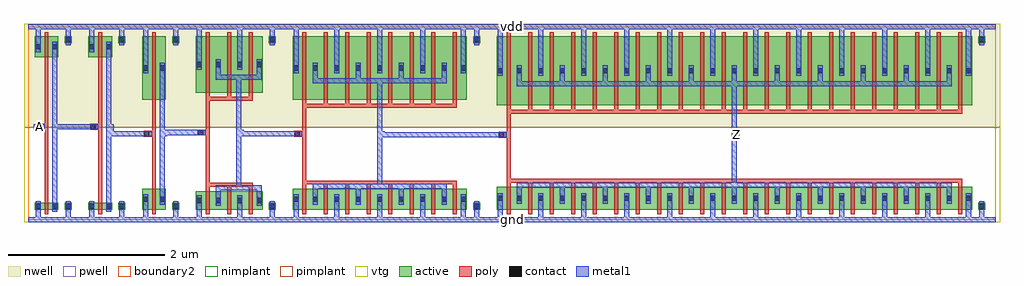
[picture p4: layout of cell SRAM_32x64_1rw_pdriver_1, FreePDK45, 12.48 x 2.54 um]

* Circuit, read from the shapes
.subckt SRAM_32x64_1rw_pdriver_1 A Z gnd vdd
M1 SRAM_32x64_1rw_pinv_1_1/A A gnd gnd nfet w=0.09u l=0.05u
M2 SRAM_32x64_1rw_pinv_8_2/A SRAM_32x64_1rw_pinv_1_1/A gnd gnd nfet w=0.09u l=0.05u
M3 SRAM_32x64_1rw_pinv_9_3/A SRAM_32x64_1rw_pinv_8_2/A gnd gnd nfet w=0.27u l=0.05u
M4 SRAM_32x64_1rw_pinv_10_4/A SRAM_32x64_1rw_pinv_9_3/A gnd gnd nfet w=0.24u l=0.05u m=3
M5 SRAM_32x64_1rw_pinv_11_5/A SRAM_32x64_1rw_pinv_10_4/A gnd gnd nfet w=0.27u l=0.05u m=8
M6 Z SRAM_32x64_1rw_pinv_11_5/A gnd gnd nfet w=0.295u l=0.05u m=22
M7 SRAM_32x64_1rw_pinv_1_1/A A vdd vdd pfet w=0.27u l=0.05u
M8 SRAM_32x64_1rw_pinv_8_2/A SRAM_32x64_1rw_pinv_1_1/A vdd vdd pfet w=0.27u l=0.05u
M9 SRAM_32x64_1rw_pinv_9_3/A SRAM_32x64_1rw_pinv_8_2/A vdd vdd pfet w=0.81u l=0.05u
M10 SRAM_32x64_1rw_pinv_10_4/A SRAM_32x64_1rw_pinv_9_3/A vdd vdd pfet w=0.72u l=0.05u m=3
M11 SRAM_32x64_1rw_pinv_11_5/A SRAM_32x64_1rw_pinv_10_4/A vdd vdd pfet w=0.81u l=0.05u m=8
M12 Z SRAM_32x64_1rw_pinv_11_5/A vdd vdd pfet w=0.8825u l=0.05u m=22
.ends

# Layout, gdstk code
import gdstk
lib = gdstk.Library(unit=1e-6, precision=5e-10)
def R(c, l, rs):  # rectangles x0, y0, x1, y1
    for r in rs: c.add(gdstk.rectangle(r[:2], r[2:], *l))
def A(c, l, x, y, w, h, nx, ny, dx, dy):  # array of equal rectangles
    R(c, l, [(x+i*dx, y+j*dy, x+i*dx+w, y+j*dy+h) for i in range(nx) for j in range(ny)])
active = (1, 0)
pwell = (2, 0)
nwell = (3, 0)
nimplant = (4, 0)
pimplant = (5, 0)
vtg = (6, 0)
poly = (9, 0)
contact = (10, 0)
metal1 = (11, 0)
boundary2 = (239, 0)

sram_32x64_1rw_contact_1 = lib.new_cell('SRAM_32x64_1rw_contact_11')
R(sram_32x64_1rw_contact_1, active, [(0,0.0225,0.09,0.1125)])
R(sram_32x64_1rw_contact_1, nwell, [(-0.055,-0.0325,0.145,0.1675)])
R(sram_32x64_1rw_contact_1, pimplant, [(0,0.0225,0.09,0.1125)])
R(sram_32x64_1rw_contact_1, contact, [(0.0125,0.035,0.0775,0.1)])
R(sram_32x64_1rw_contact_1, metal1, [(0.0125,0,0.0775,0.135)])
R(sram_32x64_1rw_contact_1, boundary2, [(-0.055,-0.0325,0.145,0.1675)])

sram_32x64_1rw_pmos_m1_w = lib.new_cell('SRAM_32x64_1rw_pmos_m1_w0_270_sm1_dm1_da_p')
R(sram_32x64_1rw_pmos_m1_w, active, [(0,0,0.305,0.27)])
R(sram_32x64_1rw_pmos_m1_w, nwell, [(-0.08,-0.08,0.385,0.35)])
R(sram_32x64_1rw_pmos_m1_w, pimplant, [(0,0,0.305,0.27)])
R(sram_32x64_1rw_pmos_m1_w, vtg, [(-0.08,-0.08,0.385,0.35)])
R(sram_32x64_1rw_pmos_m1_w, poly, [(0.1275,-0.055,0.1775,0.325), (0.1275,-0.055,0.1775,0.325)])
R(sram_32x64_1rw_pmos_m1_w, metal1, [(0.0125,0.0675,0.0775,0.2025), (0.2275,0.0675,0.2925,0.2025)])
R(sram_32x64_1rw_pmos_m1_w, boundary2, [(-0.08,-0.08,0.385,0.35)])
sram_32x64_1rw_pmos_m1_w.add(gdstk.Reference(sram_32x64_1rw_contact_1, (0,0.0675)))
sram_32x64_1rw_pmos_m1_w.add(gdstk.Reference(sram_32x64_1rw_contact_1, (0.215,0.0675)))
sram_32x64_1rw_pmos_m1_w.add(gdstk.Label('G', (0.1525,0.135), layer=9, texttype=0))
sram_32x64_1rw_pmos_m1_w.add(gdstk.Label('S', (0.045,0.135), layer=11, texttype=0))
sram_32x64_1rw_pmos_m1_w.add(gdstk.Label('D', (0.26,0.135), layer=11, texttype=0))

c_sram_32x64_1rw_contact_1 = lib.new_cell('SRAM_32x64_1rw_contact_10')
R(c_sram_32x64_1rw_contact_1, active, [(0,0.0225,0.09,0.1125)])
R(c_sram_32x64_1rw_contact_1, pwell, [(-0.055,-0.0325,0.145,0.1675)])
R(c_sram_32x64_1rw_contact_1, nimplant, [(0,0.0225,0.09,0.1125)])
R(c_sram_32x64_1rw_contact_1, contact, [(0.0125,0.035,0.0775,0.1)])
R(c_sram_32x64_1rw_contact_1, metal1, [(0.0125,0,0.0775,0.135)])
R(c_sram_32x64_1rw_contact_1, boundary2, [(-0.055,-0.0325,0.145,0.1675)])

sram_32x64_1rw_nmos_m1_w = lib.new_cell('SRAM_32x64_1rw_nmos_m1_w0_090_sm1_dm1_da_p')
R(sram_32x64_1rw_nmos_m1_w, active, [(0,0,0.305,0.09)])
R(sram_32x64_1rw_nmos_m1_w, pwell, [(-0.08,-0.08,0.385,0.17)])
R(sram_32x64_1rw_nmos_m1_w, nimplant, [(0,0,0.305,0.09)])
R(sram_32x64_1rw_nmos_m1_w, vtg, [(-0.08,-0.08,0.385,0.17)])
R(sram_32x64_1rw_nmos_m1_w, poly, [(0.1275,-0.055,0.1775,0.145), (0.1275,-0.055,0.1775,0.145)])
R(sram_32x64_1rw_nmos_m1_w, metal1, [(0.0125,-0.0225,0.0775,0.1125), (0.2275,-0.0225,0.2925,0.1125)])
R(sram_32x64_1rw_nmos_m1_w, boundary2, [(-0.08,-0.08,0.385,0.17)])
sram_32x64_1rw_nmos_m1_w.add(gdstk.Reference(c_sram_32x64_1rw_contact_1, (0,-0.0225)))
sram_32x64_1rw_nmos_m1_w.add(gdstk.Reference(c_sram_32x64_1rw_contact_1, (0.215,-0.0225)))
sram_32x64_1rw_nmos_m1_w.add(gdstk.Label('G', (0.1525,0.045), layer=9, texttype=0))
sram_32x64_1rw_nmos_m1_w.add(gdstk.Label('S', (0.045,0.045), layer=11, texttype=0))
sram_32x64_1rw_nmos_m1_w.add(gdstk.Label('D', (0.26,0.045), layer=11, texttype=0))

c_sram_32x64_1rw_contact_1_ = lib.new_cell('SRAM_32x64_1rw_contact_12')
R(c_sram_32x64_1rw_contact_1_, active, [(0,0.0225,0.09,0.1125)])
R(c_sram_32x64_1rw_contact_1_, nwell, [(-0.055,-0.0325,0.145,0.1675)])
R(c_sram_32x64_1rw_contact_1_, nimplant, [(0,0.0225,0.09,0.1125)])
R(c_sram_32x64_1rw_contact_1_, contact, [(0.0125,0.035,0.0775,0.1)])
R(c_sram_32x64_1rw_contact_1_, metal1, [(0.0125,0,0.0775,0.135)])
R(c_sram_32x64_1rw_contact_1_, boundary2, [(-0.055,-0.0325,0.145,0.1675)])

c_sram_32x64_1rw_contact_1__ = lib.new_cell('SRAM_32x64_1rw_contact_13')
R(c_sram_32x64_1rw_contact_1__, active, [(0,0.0225,0.09,0.1125)])
R(c_sram_32x64_1rw_contact_1__, pwell, [(-0.055,-0.0325,0.145,0.1675)])
R(c_sram_32x64_1rw_contact_1__, pimplant, [(0,0.0225,0.09,0.1125)])
R(c_sram_32x64_1rw_contact_1__, contact, [(0.0125,0.035,0.0775,0.1)])
R(c_sram_32x64_1rw_contact_1__, metal1, [(0.0125,0,0.0775,0.135)])
R(c_sram_32x64_1rw_contact_1__, boundary2, [(-0.055,-0.0325,0.145,0.1675)])

c_sram_32x64_1rw_contact_1___ = lib.new_cell('SRAM_32x64_1rw_contact_14')
R(c_sram_32x64_1rw_contact_1___, poly, [(0.03,0,0.105,0.075)])
R(c_sram_32x64_1rw_contact_1___, contact, [(0.035,0.005,0.1,0.07)])
R(c_sram_32x64_1rw_contact_1___, metal1, [(0,0.005,0.135,0.07)])
R(c_sram_32x64_1rw_contact_1___, boundary2, [(0,0,0.135,0.075)])

sram_32x64_1rw_pinv_1 = lib.new_cell('SRAM_32x64_1rw_pinv_1')
R(sram_32x64_1rw_pinv_1, pwell, [(-0.055,-0.0325,0.7425,1.185)])
R(sram_32x64_1rw_pinv_1, nwell, [(-0.055,1.185,0.7425,2.505)])
R(sram_32x64_1rw_pinv_1, vtg, [(-0.055,-0.0325,0.7425,1.185), (-0.055,1.185,0.7425,2.505)])
R(sram_32x64_1rw_pinv_1, poly, [(0.2075,0.27,0.2575,2.02), (0.14,1.1525,0.2075,1.2275)])
R(sram_32x64_1rw_pinv_1, metal1, [(0,-0.0325,0.6875,0.0325), (0.0925,-0.0325,0.1575,0.1025), (0.4775,0,0.5425,0.17), (0.3075,0.1025,0.3725,2.2775), (0.0725,1.1575,0.2075,1.2225), (0.34,1.1575,0.405,1.2225), (0.0925,2.1425,0.1575,2.5025), (0.4775,2.3,0.5425,2.47), (0,2.4375,0.6875,2.5025)])
R(sram_32x64_1rw_pinv_1, boundary2, [(0,0,0.6875,2.47), (0,0,0.6875,2.47)])
sram_32x64_1rw_pinv_1.add(gdstk.Reference(sram_32x64_1rw_pmos_m1_w, (0.08,2.075)))
sram_32x64_1rw_pinv_1.add(gdstk.Reference(sram_32x64_1rw_nmos_m1_w, (0.08,0.125)))
sram_32x64_1rw_pinv_1.add(gdstk.Reference(c_sram_32x64_1rw_contact_1_, (0.465,2.2325)))
sram_32x64_1rw_pinv_1.add(gdstk.Reference(c_sram_32x64_1rw_contact_1__, (0.465,0.1025)))
sram_32x64_1rw_pinv_1.add(gdstk.Reference(c_sram_32x64_1rw_contact_1___, (0.0725,1.1525)))
sram_32x64_1rw_pinv_1.add(gdstk.Label('A', (0.14,1.19), layer=11, texttype=0))
sram_32x64_1rw_pinv_1.add(gdstk.Label('Z', (0.3725,1.19), layer=11, texttype=0))
sram_32x64_1rw_pinv_1.add(gdstk.Label('gnd', (0.344,0), layer=11, texttype=0))
sram_32x64_1rw_pinv_1.add(gdstk.Label('vdd', (0.344,2.47), layer=11, texttype=0))

c_sram_32x64_1rw_pmos_m1_w = lib.new_cell('SRAM_32x64_1rw_pmos_m1_w0_810_sm1_dm1_da_p')
R(c_sram_32x64_1rw_pmos_m1_w, active, [(0,0,0.305,0.81)])
R(c_sram_32x64_1rw_pmos_m1_w, nwell, [(-0.08,-0.08,0.385,0.89)])
R(c_sram_32x64_1rw_pmos_m1_w, pimplant, [(0,0,0.305,0.81)])
R(c_sram_32x64_1rw_pmos_m1_w, vtg, [(-0.08,-0.08,0.385,0.89)])
R(c_sram_32x64_1rw_pmos_m1_w, poly, [(0.1275,-0.055,0.1775,0.865), (0.1275,-0.055,0.1775,0.865)])
R(c_sram_32x64_1rw_pmos_m1_w, metal1, [(0.0125,0.3375,0.0775,0.4725), (0.2275,0.3375,0.2925,0.4725)])
R(c_sram_32x64_1rw_pmos_m1_w, boundary2, [(-0.08,-0.08,0.385,0.89)])
c_sram_32x64_1rw_pmos_m1_w.add(gdstk.Reference(sram_32x64_1rw_contact_1, (0,0.3375)))
c_sram_32x64_1rw_pmos_m1_w.add(gdstk.Reference(sram_32x64_1rw_contact_1, (0.215,0.3375)))
c_sram_32x64_1rw_pmos_m1_w.add(gdstk.Label('G', (0.1525,0.405), layer=9, texttype=0))
c_sram_32x64_1rw_pmos_m1_w.add(gdstk.Label('S', (0.045,0.405), layer=11, texttype=0))
c_sram_32x64_1rw_pmos_m1_w.add(gdstk.Label('D', (0.26,0.405), layer=11, texttype=0))

c_sram_32x64_1rw_nmos_m1_w = lib.new_cell('SRAM_32x64_1rw_nmos_m1_w0_270_sm1_dm1_da_p')
R(c_sram_32x64_1rw_nmos_m1_w, active, [(0,0,0.305,0.27)])
R(c_sram_32x64_1rw_nmos_m1_w, pwell, [(-0.08,-0.08,0.385,0.35)])
R(c_sram_32x64_1rw_nmos_m1_w, nimplant, [(0,0,0.305,0.27)])
R(c_sram_32x64_1rw_nmos_m1_w, vtg, [(-0.08,-0.08,0.385,0.35)])
R(c_sram_32x64_1rw_nmos_m1_w, poly, [(0.1275,-0.055,0.1775,0.325), (0.1275,-0.055,0.1775,0.325)])
R(c_sram_32x64_1rw_nmos_m1_w, metal1, [(0.0125,0.0675,0.0775,0.2025), (0.2275,0.0675,0.2925,0.2025)])
R(c_sram_32x64_1rw_nmos_m1_w, boundary2, [(-0.08,-0.08,0.385,0.35)])
c_sram_32x64_1rw_nmos_m1_w.add(gdstk.Reference(c_sram_32x64_1rw_contact_1, (0,0.0675)))
c_sram_32x64_1rw_nmos_m1_w.add(gdstk.Reference(c_sram_32x64_1rw_contact_1, (0.215,0.0675)))
c_sram_32x64_1rw_nmos_m1_w.add(gdstk.Label('G', (0.1525,0.135), layer=9, texttype=0))
c_sram_32x64_1rw_nmos_m1_w.add(gdstk.Label('S', (0.045,0.135), layer=11, texttype=0))
c_sram_32x64_1rw_nmos_m1_w.add(gdstk.Label('D', (0.26,0.135), layer=11, texttype=0))

sram_32x64_1rw_pinv_8 = lib.new_cell('SRAM_32x64_1rw_pinv_8')
R(sram_32x64_1rw_pinv_8, pwell, [(-0.055,-0.0325,0.7425,1.185)])
R(sram_32x64_1rw_pinv_8, nwell, [(-0.055,1.185,0.7425,2.505)])
R(sram_32x64_1rw_pinv_8, vtg, [(-0.055,-0.0325,0.7425,1.185), (-0.055,1.185,0.7425,2.505)])
R(sram_32x64_1rw_pinv_8, poly, [(0.2075,0.45,0.2575,1.48), (0.14,1.0625,0.2075,1.1375)])
R(sram_32x64_1rw_pinv_8, metal1, [(0,-0.0325,0.6875,0.0325), (0.0925,-0.0325,0.1575,0.1925), (0.4775,0,0.5425,0.17), (0.3075,0.1925,0.3725,2.0075), (0.0725,1.0675,0.2075,1.1325), (0.34,1.0675,0.405,1.1325), (0.0925,1.8725,0.1575,2.5025), (0.4775,2.3,0.5425,2.47), (0,2.4375,0.6875,2.5025)])
R(sram_32x64_1rw_pinv_8, boundary2, [(0,0,0.6875,2.47), (0,0,0.6875,2.47)])
sram_32x64_1rw_pinv_8.add(gdstk.Reference(c_sram_32x64_1rw_pmos_m1_w, (0.08,1.535)))
sram_32x64_1rw_pinv_8.add(gdstk.Reference(c_sram_32x64_1rw_nmos_m1_w, (0.08,0.125)))
sram_32x64_1rw_pinv_8.add(gdstk.Reference(c_sram_32x64_1rw_contact_1_, (0.465,2.2325)))
sram_32x64_1rw_pinv_8.add(gdstk.Reference(c_sram_32x64_1rw_contact_1__, (0.465,0.1025)))
sram_32x64_1rw_pinv_8.add(gdstk.Reference(c_sram_32x64_1rw_contact_1___, (0.0725,1.0625)))
sram_32x64_1rw_pinv_8.add(gdstk.Label('A', (0.14,1.1), layer=11, texttype=0))
sram_32x64_1rw_pinv_8.add(gdstk.Label('Z', (0.3725,1.1), layer=11, texttype=0))
sram_32x64_1rw_pinv_8.add(gdstk.Label('gnd', (0.344,0), layer=11, texttype=0))
sram_32x64_1rw_pinv_8.add(gdstk.Label('vdd', (0.344,2.47), layer=11, texttype=0))

sram_32x64_1rw_pmos_m3_w = lib.new_cell('SRAM_32x64_1rw_pmos_m3_w0_720_sm1_dm1_da_p')
R(sram_32x64_1rw_pmos_m3_w, active, [(0,0,0.855,0.72)])
R(sram_32x64_1rw_pmos_m3_w, nwell, [(-0.08,-0.08,0.935,0.8)])
R(sram_32x64_1rw_pmos_m3_w, pimplant, [(0,0,0.855,0.72)])
R(sram_32x64_1rw_pmos_m3_w, vtg, [(-0.08,-0.08,0.935,0.8)])
A(sram_32x64_1rw_pmos_m3_w, poly, 0.1275, -0.055, 0.05, 0.83, 3, 1, 0.275, 0)
R(sram_32x64_1rw_pmos_m3_w, poly, [(0.1275,-0.105,0.7275,-0.055)])
R(sram_32x64_1rw_pmos_m3_w, metal1, [(0.2575,0.1625,0.8425,0.2275), (0.2575,0.195,0.3225,0.36), (0.7775,0.195,0.8425,0.36), (0.0125,0.2925,0.0775,0.4275), (0.5325,0.2925,0.5975,0.4275)])
R(sram_32x64_1rw_pmos_m3_w, boundary2, [(-0.08,-0.105,0.935,0.8)])
sram_32x64_1rw_pmos_m3_w.add(gdstk.Reference(sram_32x64_1rw_contact_1, (0,0.2925)))
sram_32x64_1rw_pmos_m3_w.add(gdstk.Reference(sram_32x64_1rw_contact_1, (0.245,0.2925)))
sram_32x64_1rw_pmos_m3_w.add(gdstk.Reference(sram_32x64_1rw_contact_1, (0.52,0.2925)))
sram_32x64_1rw_pmos_m3_w.add(gdstk.Reference(sram_32x64_1rw_contact_1, (0.765,0.2925)))
sram_32x64_1rw_pmos_m3_w.add(gdstk.Label('G', (0.4275,-0.08), layer=9, texttype=0))
sram_32x64_1rw_pmos_m3_w.add(gdstk.Label('S', (0.045,0.36), layer=11, texttype=0))
sram_32x64_1rw_pmos_m3_w.add(gdstk.Label('S', (0.565,0.36), layer=11, texttype=0))
sram_32x64_1rw_pmos_m3_w.add(gdstk.Label('D', (0.55,0.195), layer=11, texttype=0))

sram_32x64_1rw_nmos_m3_w = lib.new_cell('SRAM_32x64_1rw_nmos_m3_w0_240_sm1_dm1_da_p')
R(sram_32x64_1rw_nmos_m3_w, active, [(0,0,0.855,0.24)])
R(sram_32x64_1rw_nmos_m3_w, pwell, [(-0.08,-0.08,0.935,0.32)])
R(sram_32x64_1rw_nmos_m3_w, nimplant, [(0,0,0.855,0.24)])
R(sram_32x64_1rw_nmos_m3_w, vtg, [(-0.08,-0.08,0.935,0.32)])
A(sram_32x64_1rw_nmos_m3_w, poly, 0.1275, -0.055, 0.05, 0.35, 3, 1, 0.275, 0)
R(sram_32x64_1rw_nmos_m3_w, poly, [(0.1275,0.295,0.7275,0.345)])
R(sram_32x64_1rw_nmos_m3_w, metal1, [(0.0125,0.0525,0.0775,0.1875), (0.5325,0.0525,0.5975,0.1875), (0.2575,0.12,0.3225,0.285), (0.7775,0.12,0.8425,0.285), (0.2575,0.2525,0.8425,0.3175)])
R(sram_32x64_1rw_nmos_m3_w, boundary2, [(-0.08,-0.08,0.935,0.345)])
sram_32x64_1rw_nmos_m3_w.add(gdstk.Reference(c_sram_32x64_1rw_contact_1, (0,0.0525)))
sram_32x64_1rw_nmos_m3_w.add(gdstk.Reference(c_sram_32x64_1rw_contact_1, (0.245,0.0525)))
sram_32x64_1rw_nmos_m3_w.add(gdstk.Reference(c_sram_32x64_1rw_contact_1, (0.52,0.0525)))
sram_32x64_1rw_nmos_m3_w.add(gdstk.Reference(c_sram_32x64_1rw_contact_1, (0.765,0.0525)))
sram_32x64_1rw_nmos_m3_w.add(gdstk.Label('G', (0.4275,0.32), layer=9, texttype=0))
sram_32x64_1rw_nmos_m3_w.add(gdstk.Label('S', (0.565,0.12), layer=11, texttype=0))
sram_32x64_1rw_nmos_m3_w.add(gdstk.Label('S', (0.045,0.12), layer=11, texttype=0))
sram_32x64_1rw_nmos_m3_w.add(gdstk.Label('D', (0.55,0.285), layer=11, texttype=0))

sram_32x64_1rw_pinv_9 = lib.new_cell('SRAM_32x64_1rw_pinv_9')
R(sram_32x64_1rw_pinv_9, pwell, [(-0.055,-0.0325,1.2925,1.185)])
R(sram_32x64_1rw_pinv_9, nwell, [(-0.055,1.185,1.2925,2.505)])
R(sram_32x64_1rw_pinv_9, vtg, [(-0.055,-0.0325,1.2925,1.185), (-0.055,1.185,1.2925,2.505)])
R(sram_32x64_1rw_pinv_9, poly, [(0.2075,0.47,0.2575,1.52), (0.14,1.0775,0.2075,1.1525)])
R(sram_32x64_1rw_pinv_9, metal1, [(0,-0.0325,1.2375,0.0325), (0.0925,-0.0325,0.1575,0.1775), (0.6125,-0.0325,0.6775,0.1775), (1.0275,0,1.0925,0.17), (0.5975,0.3775,0.6625,1.8525), (0.0725,1.0825,0.2075,1.1475), (0.63,1.0825,0.695,1.1475), (0.0925,1.9175,0.1575,2.5025), (0.6125,1.9175,0.6775,2.5025), (1.0275,2.3,1.0925,2.47), (0,2.4375,1.2375,2.5025)])
R(sram_32x64_1rw_pinv_9, boundary2, [(0,0,1.2375,2.47), (0,0,1.2375,2.47)])
sram_32x64_1rw_pinv_9.add(gdstk.Reference(sram_32x64_1rw_pmos_m3_w, (0.08,1.625)))
sram_32x64_1rw_pinv_9.add(gdstk.Reference(sram_32x64_1rw_nmos_m3_w, (0.08,0.125)))
sram_32x64_1rw_pinv_9.add(gdstk.Reference(c_sram_32x64_1rw_contact_1_, (1.015,2.2325)))
sram_32x64_1rw_pinv_9.add(gdstk.Reference(c_sram_32x64_1rw_contact_1__, (1.015,0.1025)))
sram_32x64_1rw_pinv_9.add(gdstk.Reference(c_sram_32x64_1rw_contact_1___, (0.0725,1.0775)))
sram_32x64_1rw_pinv_9.add(gdstk.Label('A', (0.14,1.115), layer=11, texttype=0))
sram_32x64_1rw_pinv_9.add(gdstk.Label('Z', (0.6625,1.115), layer=11, texttype=0))
sram_32x64_1rw_pinv_9.add(gdstk.Label('gnd', (0.619,0), layer=11, texttype=0))
sram_32x64_1rw_pinv_9.add(gdstk.Label('vdd', (0.619,2.47), layer=11, texttype=0))

sram_32x64_1rw_pmos_m8_w = lib.new_cell('SRAM_32x64_1rw_pmos_m8_w0_810_sm1_dm1_da_p')
R(sram_32x64_1rw_pmos_m8_w, active, [(0,0,2.23,0.81)])
R(sram_32x64_1rw_pmos_m8_w, nwell, [(-0.08,-0.08,2.31,0.89)])
R(sram_32x64_1rw_pmos_m8_w, pimplant, [(0,0,2.23,0.81)])
R(sram_32x64_1rw_pmos_m8_w, vtg, [(-0.08,-0.08,2.31,0.89)])
A(sram_32x64_1rw_pmos_m8_w, poly, 0.1275, -0.055, 0.05, 0.92, 8, 1, 0.275, 0)
R(sram_32x64_1rw_pmos_m8_w, poly, [(0.1275,-0.105,2.1025,-0.055)])
A(sram_32x64_1rw_pmos_m8_w, metal1, 0.2575, 0.24, 0.065, 0.165, 4, 1, 0.55, 0)
A(sram_32x64_1rw_pmos_m8_w, metal1, 0.5325, 0.3375, 0.065, 0.135, 3, 1, 0.55, 0)
R(sram_32x64_1rw_pmos_m8_w, metal1, [(0.2575,0.2075,1.9725,0.2725), (0.0125,0.3375,0.0775,0.4725), (2.1525,0.3375,2.2175,0.4725)])
R(sram_32x64_1rw_pmos_m8_w, boundary2, [(-0.08,-0.105,2.31,0.89)])
sram_32x64_1rw_pmos_m8_w.add(gdstk.Reference(sram_32x64_1rw_contact_1, (0,0.3375)))
sram_32x64_1rw_pmos_m8_w.add(gdstk.Reference(sram_32x64_1rw_contact_1, (0.245,0.3375)))
sram_32x64_1rw_pmos_m8_w.add(gdstk.Reference(sram_32x64_1rw_contact_1, (0.52,0.3375)))
sram_32x64_1rw_pmos_m8_w.add(gdstk.Reference(sram_32x64_1rw_contact_1, (0.795,0.3375)))
sram_32x64_1rw_pmos_m8_w.add(gdstk.Reference(sram_32x64_1rw_contact_1, (1.07,0.3375)))
sram_32x64_1rw_pmos_m8_w.add(gdstk.Reference(sram_32x64_1rw_contact_1, (1.345,0.3375)))
sram_32x64_1rw_pmos_m8_w.add(gdstk.Reference(sram_32x64_1rw_contact_1, (1.62,0.3375)))
sram_32x64_1rw_pmos_m8_w.add(gdstk.Reference(sram_32x64_1rw_contact_1, (1.895,0.3375)))
sram_32x64_1rw_pmos_m8_w.add(gdstk.Reference(sram_32x64_1rw_contact_1, (2.14,0.3375)))
sram_32x64_1rw_pmos_m8_w.add(gdstk.Label('G', (1.115,-0.08), layer=9, texttype=0))
sram_32x64_1rw_pmos_m8_w.add(gdstk.Label('S', (2.185,0.405), layer=11, texttype=0))
sram_32x64_1rw_pmos_m8_w.add(gdstk.Label('S', (1.115,0.405), layer=11, texttype=0))
sram_32x64_1rw_pmos_m8_w.add(gdstk.Label('S', (0.045,0.405), layer=11, texttype=0))
sram_32x64_1rw_pmos_m8_w.add(gdstk.Label('S', (1.665,0.405), layer=11, texttype=0))
sram_32x64_1rw_pmos_m8_w.add(gdstk.Label('S', (0.565,0.405), layer=11, texttype=0))
sram_32x64_1rw_pmos_m8_w.add(gdstk.Label('D', (1.115,0.24), layer=11, texttype=0))

sram_32x64_1rw_nmos_m8_w = lib.new_cell('SRAM_32x64_1rw_nmos_m8_w0_270_sm1_dm1_da_p')
R(sram_32x64_1rw_nmos_m8_w, active, [(0,0,2.23,0.27)])
R(sram_32x64_1rw_nmos_m8_w, pwell, [(-0.08,-0.08,2.31,0.35)])
R(sram_32x64_1rw_nmos_m8_w, nimplant, [(0,0,2.23,0.27)])
R(sram_32x64_1rw_nmos_m8_w, vtg, [(-0.08,-0.08,2.31,0.35)])
A(sram_32x64_1rw_nmos_m8_w, poly, 0.1275, -0.055, 0.05, 0.38, 8, 1, 0.275, 0)
R(sram_32x64_1rw_nmos_m8_w, poly, [(0.1275,0.325,2.1025,0.375)])
A(sram_32x64_1rw_nmos_m8_w, metal1, 0.5325, 0.0675, 0.065, 0.135, 3, 1, 0.55, 0)
A(sram_32x64_1rw_nmos_m8_w, metal1, 0.2575, 0.135, 0.065, 0.165, 4, 1, 0.55, 0)
R(sram_32x64_1rw_nmos_m8_w, metal1, [(0.0125,0.0675,0.0775,0.2025), (2.1525,0.0675,2.2175,0.2025), (0.2575,0.2675,1.9725,0.3325)])
R(sram_32x64_1rw_nmos_m8_w, boundary2, [(-0.08,-0.08,2.31,0.375)])
sram_32x64_1rw_nmos_m8_w.add(gdstk.Reference(c_sram_32x64_1rw_contact_1, (0,0.0675)))
sram_32x64_1rw_nmos_m8_w.add(gdstk.Reference(c_sram_32x64_1rw_contact_1, (0.245,0.0675)))
sram_32x64_1rw_nmos_m8_w.add(gdstk.Reference(c_sram_32x64_1rw_contact_1, (0.52,0.0675)))
sram_32x64_1rw_nmos_m8_w.add(gdstk.Reference(c_sram_32x64_1rw_contact_1, (0.795,0.0675)))
sram_32x64_1rw_nmos_m8_w.add(gdstk.Reference(c_sram_32x64_1rw_contact_1, (1.07,0.0675)))
sram_32x64_1rw_nmos_m8_w.add(gdstk.Reference(c_sram_32x64_1rw_contact_1, (1.345,0.0675)))
sram_32x64_1rw_nmos_m8_w.add(gdstk.Reference(c_sram_32x64_1rw_contact_1, (1.62,0.0675)))
sram_32x64_1rw_nmos_m8_w.add(gdstk.Reference(c_sram_32x64_1rw_contact_1, (1.895,0.0675)))
sram_32x64_1rw_nmos_m8_w.add(gdstk.Reference(c_sram_32x64_1rw_contact_1, (2.14,0.0675)))
sram_32x64_1rw_nmos_m8_w.add(gdstk.Label('G', (1.115,0.35), layer=9, texttype=0))
sram_32x64_1rw_nmos_m8_w.add(gdstk.Label('S', (1.115,0.135), layer=11, texttype=0))
sram_32x64_1rw_nmos_m8_w.add(gdstk.Label('S', (2.185,0.135), layer=11, texttype=0))
sram_32x64_1rw_nmos_m8_w.add(gdstk.Label('S', (1.665,0.135), layer=11, texttype=0))
sram_32x64_1rw_nmos_m8_w.add(gdstk.Label('S', (0.045,0.135), layer=11, texttype=0))
sram_32x64_1rw_nmos_m8_w.add(gdstk.Label('S', (0.565,0.135), layer=11, texttype=0))
sram_32x64_1rw_nmos_m8_w.add(gdstk.Label('D', (1.115,0.3), layer=11, texttype=0))

sram_32x64_1rw_pinv_10 = lib.new_cell('SRAM_32x64_1rw_pinv_10')
R(sram_32x64_1rw_pinv_10, pwell, [(-0.055,-0.0325,2.6675,1.185)])
R(sram_32x64_1rw_pinv_10, nwell, [(-0.055,1.185,2.6675,2.505)])
R(sram_32x64_1rw_pinv_10, vtg, [(-0.055,-0.0325,2.6675,1.185), (-0.055,1.185,2.6675,2.505)])
R(sram_32x64_1rw_pinv_10, poly, [(0.2075,0.5,0.2575,1.43), (0.14,1.0625,0.2075,1.1375)])
A(sram_32x64_1rw_pinv_10, metal1, 0.6125, -0.0325, 0.065, 0.225, 3, 1, 0.55, 0)
A(sram_32x64_1rw_pinv_10, metal1, 0.6125, 1.8725, 0.065, 0.63, 3, 1, 0.55, 0)
R(sram_32x64_1rw_pinv_10, metal1, [(0,-0.0325,2.6125,0.0325), (0.0925,-0.0325,0.1575,0.1925), (2.2325,-0.0325,2.2975,0.1925), (2.4025,0,2.4675,0.17), (1.1625,0.3925,1.2275,1.8075), (0.0725,1.0675,0.2075,1.1325), (1.195,1.0675,1.26,1.1325), (0.0925,1.8725,0.1575,2.5025), (2.2325,1.8725,2.2975,2.5025), (2.4025,2.3,2.4675,2.47), (0,2.4375,2.6125,2.5025)])
R(sram_32x64_1rw_pinv_10, boundary2, [(0,0,2.6125,2.47), (0,0,2.6125,2.47)])
sram_32x64_1rw_pinv_10.add(gdstk.Reference(sram_32x64_1rw_pmos_m8_w, (0.08,1.535)))
sram_32x64_1rw_pinv_10.add(gdstk.Reference(sram_32x64_1rw_nmos_m8_w, (0.08,0.125)))
sram_32x64_1rw_pinv_10.add(gdstk.Reference(c_sram_32x64_1rw_contact_1_, (2.39,2.2325)))
sram_32x64_1rw_pinv_10.add(gdstk.Reference(c_sram_32x64_1rw_contact_1__, (2.39,0.1025)))
sram_32x64_1rw_pinv_10.add(gdstk.Reference(c_sram_32x64_1rw_contact_1___, (0.0725,1.0625)))
sram_32x64_1rw_pinv_10.add(gdstk.Label('A', (0.14,1.1), layer=11, texttype=0))
sram_32x64_1rw_pinv_10.add(gdstk.Label('Z', (1.2275,1.1), layer=11, texttype=0))
sram_32x64_1rw_pinv_10.add(gdstk.Label('gnd', (1.3065,0), layer=11, texttype=0))
sram_32x64_1rw_pinv_10.add(gdstk.Label('vdd', (1.3065,2.47), layer=11, texttype=0))

sram_32x64_1rw_pmos_m22_ = lib.new_cell('SRAM_32x64_1rw_pmos_m22_w0_883_sm1_dm1_da_p')
R(sram_32x64_1rw_pmos_m22_, active, [(0,0,6.08,0.8825)])
R(sram_32x64_1rw_pmos_m22_, nwell, [(-0.08,-0.08,6.16,0.9625)])
R(sram_32x64_1rw_pmos_m22_, pimplant, [(0,0,6.08,0.8825)])
R(sram_32x64_1rw_pmos_m22_, vtg, [(-0.08,-0.08,6.16,0.9625)])
A(sram_32x64_1rw_pmos_m22_, poly, 0.1275, -0.055, 0.05, 0.9925, 22, 1, 0.275, 0)
R(sram_32x64_1rw_pmos_m22_, poly, [(0.1275,-0.105,5.9525,-0.055)])
A(sram_32x64_1rw_pmos_m22_, metal1, 0.2575, 0.275, 0.065, 0.165, 11, 1, 0.55, 0)
A(sram_32x64_1rw_pmos_m22_, metal1, 0.5325, 0.375, 0.065, 0.135, 10, 1, 0.55, 0)
R(sram_32x64_1rw_pmos_m22_, metal1, [(0.2575,0.245,5.8225,0.31), (0.0125,0.375,0.0775,0.51), (6.0025,0.375,6.0675,0.51)])
R(sram_32x64_1rw_pmos_m22_, boundary2, [(-0.08,-0.105,6.16,0.9625)])
sram_32x64_1rw_pmos_m22_.add(gdstk.Reference(sram_32x64_1rw_contact_1, (0,0.375)))
sram_32x64_1rw_pmos_m22_.add(gdstk.Reference(sram_32x64_1rw_contact_1, (0.245,0.375)))
sram_32x64_1rw_pmos_m22_.add(gdstk.Reference(sram_32x64_1rw_contact_1, (0.52,0.375)))
sram_32x64_1rw_pmos_m22_.add(gdstk.Reference(sram_32x64_1rw_contact_1, (0.795,0.375)))
sram_32x64_1rw_pmos_m22_.add(gdstk.Reference(sram_32x64_1rw_contact_1, (1.07,0.375)))
sram_32x64_1rw_pmos_m22_.add(gdstk.Reference(sram_32x64_1rw_contact_1, (1.345,0.375)))
sram_32x64_1rw_pmos_m22_.add(gdstk.Reference(sram_32x64_1rw_contact_1, (1.62,0.375)))
sram_32x64_1rw_pmos_m22_.add(gdstk.Reference(sram_32x64_1rw_contact_1, (1.895,0.375)))
sram_32x64_1rw_pmos_m22_.add(gdstk.Reference(sram_32x64_1rw_contact_1, (2.17,0.375)))
sram_32x64_1rw_pmos_m22_.add(gdstk.Reference(sram_32x64_1rw_contact_1, (2.445,0.375)))
sram_32x64_1rw_pmos_m22_.add(gdstk.Reference(sram_32x64_1rw_contact_1, (2.72,0.375)))
sram_32x64_1rw_pmos_m22_.add(gdstk.Reference(sram_32x64_1rw_contact_1, (2.995,0.375)))
sram_32x64_1rw_pmos_m22_.add(gdstk.Reference(sram_32x64_1rw_contact_1, (3.27,0.375)))
sram_32x64_1rw_pmos_m22_.add(gdstk.Reference(sram_32x64_1rw_contact_1, (3.545,0.375)))
sram_32x64_1rw_pmos_m22_.add(gdstk.Reference(sram_32x64_1rw_contact_1, (3.82,0.375)))
sram_32x64_1rw_pmos_m22_.add(gdstk.Reference(sram_32x64_1rw_contact_1, (4.095,0.375)))
sram_32x64_1rw_pmos_m22_.add(gdstk.Reference(sram_32x64_1rw_contact_1, (4.37,0.375)))
sram_32x64_1rw_pmos_m22_.add(gdstk.Reference(sram_32x64_1rw_contact_1, (4.645,0.375)))
sram_32x64_1rw_pmos_m22_.add(gdstk.Reference(sram_32x64_1rw_contact_1, (4.92,0.375)))
sram_32x64_1rw_pmos_m22_.add(gdstk.Reference(sram_32x64_1rw_contact_1, (5.195,0.375)))
sram_32x64_1rw_pmos_m22_.add(gdstk.Reference(sram_32x64_1rw_contact_1, (5.47,0.375)))
sram_32x64_1rw_pmos_m22_.add(gdstk.Reference(sram_32x64_1rw_contact_1, (5.745,0.375)))
sram_32x64_1rw_pmos_m22_.add(gdstk.Reference(sram_32x64_1rw_contact_1, (5.99,0.375)))
sram_32x64_1rw_pmos_m22_.add(gdstk.Label('G', (3.04,-0.08), layer=9, texttype=0))
sram_32x64_1rw_pmos_m22_.add(gdstk.Label('S', (0.565,0.4425), layer=11, texttype=0))
sram_32x64_1rw_pmos_m22_.add(gdstk.Label('S', (1.115,0.4425), layer=11, texttype=0))
sram_32x64_1rw_pmos_m22_.add(gdstk.Label('S', (4.415,0.4425), layer=11, texttype=0))
sram_32x64_1rw_pmos_m22_.add(gdstk.Label('S', (3.865,0.4425), layer=11, texttype=0))
sram_32x64_1rw_pmos_m22_.add(gdstk.Label('S', (6.035,0.4425), layer=11, texttype=0))
sram_32x64_1rw_pmos_m22_.add(gdstk.Label('S', (3.315,0.4425), layer=11, texttype=0))
sram_32x64_1rw_pmos_m22_.add(gdstk.Label('S', (0.045,0.4425), layer=11, texttype=0))
sram_32x64_1rw_pmos_m22_.add(gdstk.Label('S', (4.965,0.4425), layer=11, texttype=0))
sram_32x64_1rw_pmos_m22_.add(gdstk.Label('S', (5.515,0.4425), layer=11, texttype=0))
sram_32x64_1rw_pmos_m22_.add(gdstk.Label('S', (1.665,0.4425), layer=11, texttype=0))
sram_32x64_1rw_pmos_m22_.add(gdstk.Label('S', (2.215,0.4425), layer=11, texttype=0))
sram_32x64_1rw_pmos_m22_.add(gdstk.Label('S', (2.765,0.4425), layer=11, texttype=0))
sram_32x64_1rw_pmos_m22_.add(gdstk.Label('D', (3.04,0.2775), layer=11, texttype=0))

sram_32x64_1rw_nmos_m22_ = lib.new_cell('SRAM_32x64_1rw_nmos_m22_w0_295_sm1_dm1_da_p')
R(sram_32x64_1rw_nmos_m22_, active, [(0,0,6.08,0.295)])
R(sram_32x64_1rw_nmos_m22_, pwell, [(-0.08,-0.08,6.16,0.375)])
R(sram_32x64_1rw_nmos_m22_, nimplant, [(0,0,6.08,0.295)])
R(sram_32x64_1rw_nmos_m22_, vtg, [(-0.08,-0.08,6.16,0.375)])
A(sram_32x64_1rw_nmos_m22_, poly, 0.1275, -0.055, 0.05, 0.405, 22, 1, 0.275, 0)
R(sram_32x64_1rw_nmos_m22_, poly, [(0.1275,0.35,5.9525,0.4)])
A(sram_32x64_1rw_nmos_m22_, metal1, 0.5325, 0.08, 0.065, 0.135, 10, 1, 0.55, 0)
A(sram_32x64_1rw_nmos_m22_, metal1, 0.2575, 0.1475, 0.065, 0.165, 11, 1, 0.55, 0)
R(sram_32x64_1rw_nmos_m22_, metal1, [(0.0125,0.08,0.0775,0.215), (6.0025,0.08,6.0675,0.215), (0.2575,0.28,5.8225,0.345)])
R(sram_32x64_1rw_nmos_m22_, boundary2, [(-0.08,-0.08,6.16,0.4)])
sram_32x64_1rw_nmos_m22_.add(gdstk.Reference(c_sram_32x64_1rw_contact_1, (0,0.08)))
sram_32x64_1rw_nmos_m22_.add(gdstk.Reference(c_sram_32x64_1rw_contact_1, (0.245,0.08)))
sram_32x64_1rw_nmos_m22_.add(gdstk.Reference(c_sram_32x64_1rw_contact_1, (0.52,0.08)))
sram_32x64_1rw_nmos_m22_.add(gdstk.Reference(c_sram_32x64_1rw_contact_1, (0.795,0.08)))
sram_32x64_1rw_nmos_m22_.add(gdstk.Reference(c_sram_32x64_1rw_contact_1, (1.07,0.08)))
sram_32x64_1rw_nmos_m22_.add(gdstk.Reference(c_sram_32x64_1rw_contact_1, (1.345,0.08)))
sram_32x64_1rw_nmos_m22_.add(gdstk.Reference(c_sram_32x64_1rw_contact_1, (1.62,0.08)))
sram_32x64_1rw_nmos_m22_.add(gdstk.Reference(c_sram_32x64_1rw_contact_1, (1.895,0.08)))
sram_32x64_1rw_nmos_m22_.add(gdstk.Reference(c_sram_32x64_1rw_contact_1, (2.17,0.08)))
sram_32x64_1rw_nmos_m22_.add(gdstk.Reference(c_sram_32x64_1rw_contact_1, (2.445,0.08)))
sram_32x64_1rw_nmos_m22_.add(gdstk.Reference(c_sram_32x64_1rw_contact_1, (2.72,0.08)))
sram_32x64_1rw_nmos_m22_.add(gdstk.Reference(c_sram_32x64_1rw_contact_1, (2.995,0.08)))
sram_32x64_1rw_nmos_m22_.add(gdstk.Reference(c_sram_32x64_1rw_contact_1, (3.27,0.08)))
sram_32x64_1rw_nmos_m22_.add(gdstk.Reference(c_sram_32x64_1rw_contact_1, (3.545,0.08)))
sram_32x64_1rw_nmos_m22_.add(gdstk.Reference(c_sram_32x64_1rw_contact_1, (3.82,0.08)))
sram_32x64_1rw_nmos_m22_.add(gdstk.Reference(c_sram_32x64_1rw_contact_1, (4.095,0.08)))
sram_32x64_1rw_nmos_m22_.add(gdstk.Reference(c_sram_32x64_1rw_contact_1, (4.37,0.08)))
sram_32x64_1rw_nmos_m22_.add(gdstk.Reference(c_sram_32x64_1rw_contact_1, (4.645,0.08)))
sram_32x64_1rw_nmos_m22_.add(gdstk.Reference(c_sram_32x64_1rw_contact_1, (4.92,0.08)))
sram_32x64_1rw_nmos_m22_.add(gdstk.Reference(c_sram_32x64_1rw_contact_1, (5.195,0.08)))
sram_32x64_1rw_nmos_m22_.add(gdstk.Reference(c_sram_32x64_1rw_contact_1, (5.47,0.08)))
sram_32x64_1rw_nmos_m22_.add(gdstk.Reference(c_sram_32x64_1rw_contact_1, (5.745,0.08)))
sram_32x64_1rw_nmos_m22_.add(gdstk.Reference(c_sram_32x64_1rw_contact_1, (5.99,0.08)))
sram_32x64_1rw_nmos_m22_.add(gdstk.Label('G', (3.04,0.375), layer=9, texttype=0))
sram_32x64_1rw_nmos_m22_.add(gdstk.Label('S', (2.215,0.1475), layer=11, texttype=0))
sram_32x64_1rw_nmos_m22_.add(gdstk.Label('S', (3.865,0.1475), layer=11, texttype=0))
sram_32x64_1rw_nmos_m22_.add(gdstk.Label('S', (2.765,0.1475), layer=11, texttype=0))
sram_32x64_1rw_nmos_m22_.add(gdstk.Label('S', (5.515,0.1475), layer=11, texttype=0))
sram_32x64_1rw_nmos_m22_.add(gdstk.Label('S', (0.045,0.1475), layer=11, texttype=0))
sram_32x64_1rw_nmos_m22_.add(gdstk.Label('S', (0.565,0.1475), layer=11, texttype=0))
sram_32x64_1rw_nmos_m22_.add(gdstk.Label('S', (4.415,0.1475), layer=11, texttype=0))
sram_32x64_1rw_nmos_m22_.add(gdstk.Label('S', (4.965,0.1475), layer=11, texttype=0))
sram_32x64_1rw_nmos_m22_.add(gdstk.Label('S', (3.315,0.1475), layer=11, texttype=0))
sram_32x64_1rw_nmos_m22_.add(gdstk.Label('S', (1.665,0.1475), layer=11, texttype=0))
sram_32x64_1rw_nmos_m22_.add(gdstk.Label('S', (6.035,0.1475), layer=11, texttype=0))
sram_32x64_1rw_nmos_m22_.add(gdstk.Label('S', (1.115,0.1475), layer=11, texttype=0))
sram_32x64_1rw_nmos_m22_.add(gdstk.Label('D', (3.04,0.3125), layer=11, texttype=0))

sram_32x64_1rw_pinv_11 = lib.new_cell('SRAM_32x64_1rw_pinv_11')
R(sram_32x64_1rw_pinv_11, pwell, [(-0.055,-0.0325,6.5175,1.185)])
R(sram_32x64_1rw_pinv_11, nwell, [(-0.055,1.185,6.5175,2.505)])
R(sram_32x64_1rw_pinv_11, vtg, [(-0.055,-0.0325,6.5175,1.185), (-0.055,1.185,6.5175,2.505)])
R(sram_32x64_1rw_pinv_11, poly, [(0.2075,0.525,0.2575,1.3575), (0.14,1.05,0.2075,1.125)])
A(sram_32x64_1rw_pinv_11, metal1, 0.6125, -0.0325, 0.065, 0.2375, 10, 1, 0.55, 0)
A(sram_32x64_1rw_pinv_11, metal1, 0.6125, 1.8375, 0.065, 0.665, 10, 1, 0.55, 0)
R(sram_32x64_1rw_pinv_11, metal1, [(0,-0.0325,6.4625,0.0325), (0.0925,-0.0325,0.1575,0.205), (6.0825,-0.0325,6.1475,0.205), (6.2525,0,6.3175,0.17), (3.0875,0.405,3.1525,1.7725), (0.0725,1.055,0.2075,1.12), (3.12,1.055,3.185,1.12), (0.0925,1.8375,0.1575,2.5025), (6.0825,1.8375,6.1475,2.5025), (6.2525,2.3,6.3175,2.47), (0,2.4375,6.4625,2.5025)])
R(sram_32x64_1rw_pinv_11, boundary2, [(0,0,6.4625,2.47), (0,0,6.4625,2.47)])
sram_32x64_1rw_pinv_11.add(gdstk.Reference(sram_32x64_1rw_pmos_m22_, (0.08,1.4625)))
sram_32x64_1rw_pinv_11.add(gdstk.Reference(sram_32x64_1rw_nmos_m22_, (0.08,0.125)))
sram_32x64_1rw_pinv_11.add(gdstk.Reference(c_sram_32x64_1rw_contact_1_, (6.24,2.2325)))
sram_32x64_1rw_pinv_11.add(gdstk.Reference(c_sram_32x64_1rw_contact_1__, (6.24,0.1025)))
sram_32x64_1rw_pinv_11.add(gdstk.Reference(c_sram_32x64_1rw_contact_1___, (0.0725,1.05)))
sram_32x64_1rw_pinv_11.add(gdstk.Label('A', (0.14,1.0875), layer=11, texttype=0))
sram_32x64_1rw_pinv_11.add(gdstk.Label('Z', (3.1525,1.0875), layer=11, texttype=0))
sram_32x64_1rw_pinv_11.add(gdstk.Label('gnd', (3.231,0), layer=11, texttype=0))
sram_32x64_1rw_pinv_11.add(gdstk.Label('vdd', (3.231,2.47), layer=11, texttype=0))

sram_32x64_1rw_pdriver_1 = lib.new_cell('SRAM_32x64_1rw_pdriver_1')
R(sram_32x64_1rw_pdriver_1, pwell, [(-0.055,-0.0325,12.43,1.185)])
R(sram_32x64_1rw_pdriver_1, nwell, [(-0.055,1.185,12.43,2.505)])
R(sram_32x64_1rw_pdriver_1, vtg, [(-0.055,-0.0325,12.43,1.185), (-0.055,1.185,12.43,2.505)])
R(sram_32x64_1rw_pdriver_1, metal1, [(0,-0.0325,12.375,0.0325), (4.495,1.055,4.56,1.12), (4.5275,1.055,6.0525,1.12), (9.0325,1.055,9.0975,1.12), (1.0275,1.0675,1.0925,1.1325), (1.06,1.0675,1.515,1.1325), (2.6925,1.0675,2.7575,1.1325), (2.725,1.0675,3.44,1.1325), (1.715,1.0825,1.78,1.1475), (1.7475,1.0825,2.2025,1.1475), (4.495,1.0875,4.56,1.1), (1.0275,1.1,1.0925,1.19), (1.715,1.1,1.78,1.115), (2.6925,1.1,2.7575,1.115), (0.0725,1.1575,0.2075,1.2225), (0.3725,1.1575,0.8275,1.2225), (0,2.4375,12.375,2.5025)])
R(sram_32x64_1rw_pdriver_1, boundary2, [(0,0,12.375,2.47), (0,0,12.375,2.47)])
sram_32x64_1rw_pdriver_1.add(gdstk.Reference(sram_32x64_1rw_pinv_1, (0,0)))
sram_32x64_1rw_pdriver_1.add(gdstk.Reference(sram_32x64_1rw_pinv_1, (0.6875,0)))
sram_32x64_1rw_pdriver_1.add(gdstk.Reference(sram_32x64_1rw_pinv_8, (1.375,0)))
sram_32x64_1rw_pdriver_1.add(gdstk.Reference(sram_32x64_1rw_pinv_9, (2.0625,0)))
sram_32x64_1rw_pdriver_1.add(gdstk.Reference(sram_32x64_1rw_pinv_10, (3.3,0)))
sram_32x64_1rw_pdriver_1.add(gdstk.Reference(sram_32x64_1rw_pinv_11, (5.9125,0)))
sram_32x64_1rw_pdriver_1.add(gdstk.Label('Z', (9.065,1.0875), layer=11, texttype=0))
sram_32x64_1rw_pdriver_1.add(gdstk.Label('A', (0.14,1.19), layer=11, texttype=0))
sram_32x64_1rw_pdriver_1.add(gdstk.Label('gnd', (6.1875,0), layer=11, texttype=0))
sram_32x64_1rw_pdriver_1.add(gdstk.Label('vdd', (6.1875,2.47), layer=11, texttype=0))

lib.write_gds('SRAM_32x64_1rw_pdriver_1.gds')
